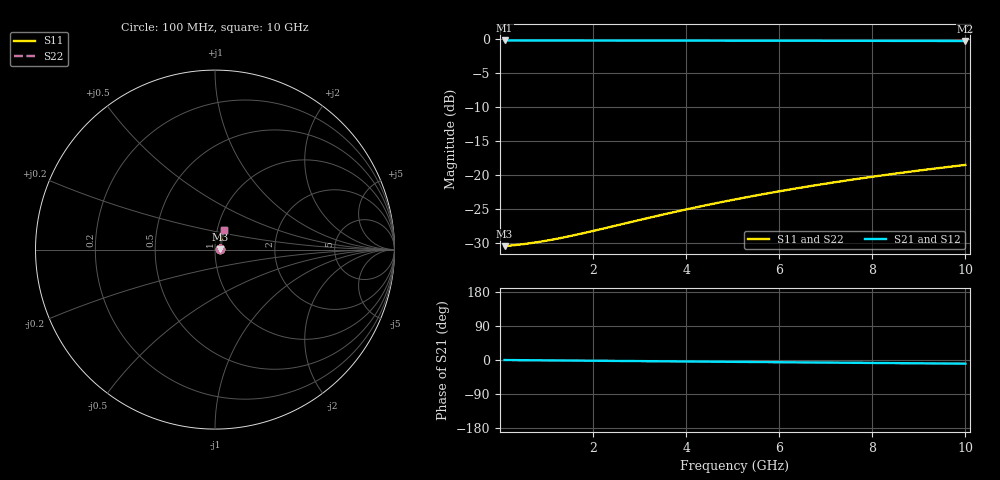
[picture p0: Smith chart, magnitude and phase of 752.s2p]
# Hz S RI R 50.00
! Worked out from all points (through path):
!   100 points, 100 MHz to 10 GHz, reference 50 ohm
!   highest |S21| = -0.27 dB at 100 MHz (marker M1); lowest = -0.3 dB at 10 GHz (marker M2)
!   group delay of S21, straight-line fit = 2.68 ps
!   lowest |S11| = -30.4 dB at 100 MHz (marker M3), VSWR 1.06, Z = 53.1 + j0.118 ohm
!   |S11| at or under -10 dB: start of sweep to end of sweep
!   |S22| runs from -30.4 to -18.5 dB; largest |S21 - S12| = 0
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1e8  0.0302 0.00111  0.9698 -0.00164  0.9698 -0.00164  0.0302 0.00111
5e8  0.0308 0.00552  0.9692 -0.00821  0.9692 -0.00821  0.0308 0.00552
7e8  0.031 0.00773  0.969 -0.0115  0.969 -0.0115  0.031 0.00773
9e8  0.0312 0.00993  0.9688 -0.0148  0.9688 -0.0148  0.0312 0.00993
1.1e9  0.0314 0.0121  0.9686 -0.018  0.9686 -0.018  0.0314 0.0121
1.3e9  0.0315 0.0143  0.9684 -0.0213  0.9684 -0.0213  0.0315 0.0143
1.5e9  0.0317 0.0165  0.9682 -0.0246  0.9682 -0.0246  0.0317 0.0165
1.8e9  0.032 0.0198  0.9679 -0.0295  0.9679 -0.0295  0.032 0.0198
3.4e9  0.034 0.0374  0.9658 -0.0556  0.9658 -0.0556  0.034 0.0374
3.9e9  0.0348 0.0428  0.965 -0.0638  0.965 -0.0638  0.0348 0.0428
4.3e9  0.0355 0.0471  0.9642 -0.0703  0.9642 -0.0703  0.0355 0.0471
4.7e9  0.0362 0.0515  0.9634 -0.0768  0.9634 -0.0768  0.0362 0.0515
5.1e9  0.037 0.0558  0.9626 -0.0832  0.9626 -0.0832  0.037 0.0558
5.5e9  0.0379 0.0601  0.9617 -0.0897  0.9617 -0.0897  0.0379 0.0601
5.9e9  0.0388 0.0644  0.9607 -0.0961  0.9607 -0.0961  0.0388 0.0644
6.3e9  0.0397 0.0687  0.9597 -0.1026  0.9597 -0.1026  0.0397 0.0687
6.7e9  0.0407 0.0729  0.9586 -0.109  0.9586 -0.109  0.0407 0.0729
7.5e9  0.0429 0.0814  0.9562 -0.1218  0.9562 -0.1218  0.0429 0.0814
7.9e9  0.0441 0.0856  0.955 -0.1281  0.955 -0.1281  0.0441 0.0856
8.4e9  0.0456 0.0909  0.9533 -0.136  0.9533 -0.136  0.0456 0.0909
9.2e9  0.0483 0.0992  0.9504 -0.1487  0.9504 -0.1487  0.0483 0.0992
1e10  0.0512 0.1074  0.9473 -0.1612  0.9473 -0.1612  0.0512 0.1074
